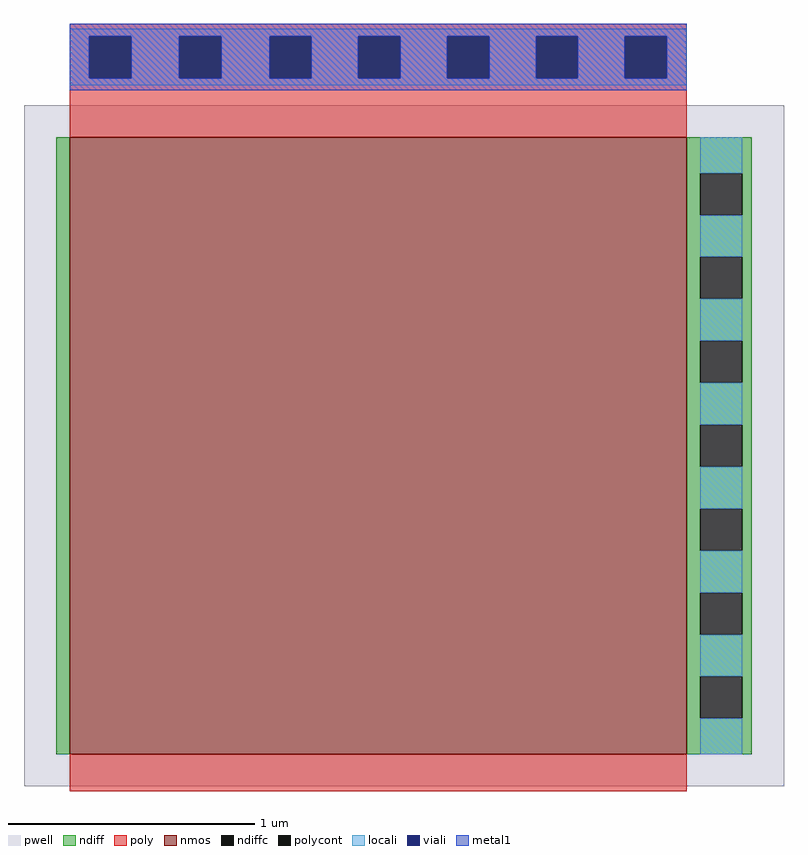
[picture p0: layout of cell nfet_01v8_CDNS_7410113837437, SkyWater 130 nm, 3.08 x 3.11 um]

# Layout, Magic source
magic
tech sky130A
magscale 1 2
<< pwell >>
rect -37 -26 579 526
<< nmos >>
rect 0 0 500 500
<< ndiff >>
rect -11 0 0 500
rect 500 471 553 500
rect 500 437 511 471
rect 545 437 553 471
rect 500 403 553 437
rect 500 369 511 403
rect 545 369 553 403
rect 500 335 553 369
rect 500 301 511 335
rect 545 301 553 335
rect 500 267 553 301
rect 500 233 511 267
rect 545 233 553 267
rect 500 199 553 233
rect 500 165 511 199
rect 545 165 553 199
rect 500 131 553 165
rect 500 97 511 131
rect 545 97 553 131
rect 500 63 553 97
rect 500 29 511 63
rect 545 29 553 63
rect 500 0 553 29
<< ndiffc >>
rect 511 437 545 471
rect 511 369 545 403
rect 511 301 545 335
rect 511 233 545 267
rect 511 165 545 199
rect 511 97 545 131
rect 511 29 545 63
<< poly >>
rect 0 582 500 592
rect 0 548 16 582
rect 50 548 89 582
rect 123 548 162 582
rect 196 548 234 582
rect 268 548 306 582
rect 340 548 378 582
rect 412 548 450 582
rect 484 548 500 582
rect 0 500 500 548
rect 0 -30 500 0
<< polycont >>
rect 16 548 50 582
rect 89 548 123 582
rect 162 548 196 582
rect 234 548 268 582
rect 306 548 340 582
rect 378 548 412 582
rect 450 548 484 582
<< locali >>
rect 0 582 500 588
rect 0 548 16 582
rect 50 548 89 582
rect 123 548 162 582
rect 196 548 234 582
rect 268 548 306 582
rect 340 548 378 582
rect 412 548 450 582
rect 484 548 500 582
rect 0 542 500 548
rect 511 471 545 500
rect 511 403 545 437
rect 511 335 545 369
rect 511 267 545 301
rect 511 199 545 233
rect 511 131 545 165
rect 511 63 545 97
rect 511 0 545 29
<< viali >>
rect 16 548 50 582
rect 89 548 123 582
rect 162 548 196 582
rect 234 548 268 582
rect 306 548 340 582
rect 378 548 412 582
rect 450 548 484 582
<< metal1 >>
rect 0 582 500 592
rect 0 548 16 582
rect 50 548 89 582
rect 123 548 162 582
rect 196 548 234 582
rect 268 548 306 582
rect 340 548 378 582
rect 412 548 450 582
rect 484 548 500 582
rect 0 538 500 548
<< end >>
